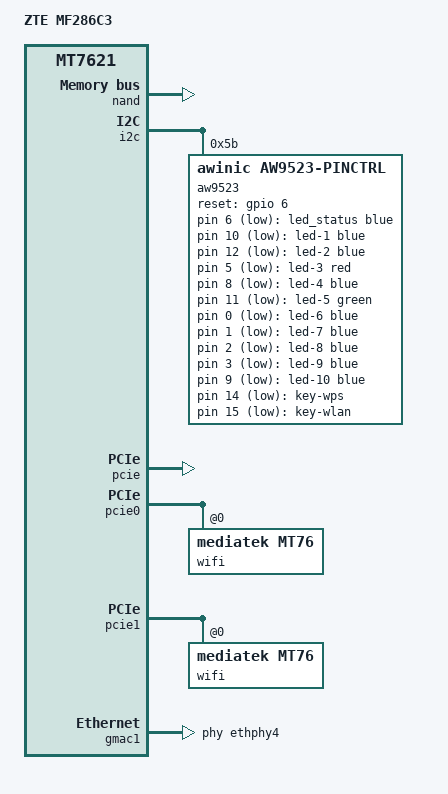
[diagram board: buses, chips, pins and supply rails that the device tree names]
// SPDX-License-Identifier: GPL-2.0-or-later

#include "mt7621.dtsi"

#include <dt-bindings/gpio/gpio.h>
#include <dt-bindings/input/input.h>
#include <dt-bindings/leds/common.h>

/ {
	compatible = "zte,mf286c3", "mediatek,mt7621-soc";
	model = "ZTE MF286C3";

	chosen {
		bootargs-override = "console=ttyS0,57600n8";
	};

	aliases {
		led-boot = &led_status;
		led-failsafe = &led_status;
		led-running = &led_status;
		led-upgrade = &led_status;
	};

	leds {
		compatible = "gpio-leds";
		pinctrl-names = "default";
		pinctrl-0 = <&led_pins>;

		led_status: led-0 { /* p0_6 - power_06 */
			color = <LED_COLOR_ID_BLUE>;
			function = LED_FUNCTION_STATUS;
			gpios = <&aw9523 6 GPIO_ACTIVE_LOW>;
			default-state = "off";
			linux,default-trigger = "none";
		};

		led-1 { /* p1_2 - wifi12 */
			color = <LED_COLOR_ID_BLUE>;
			function = LED_FUNCTION_WLAN;
			gpios = <&aw9523 10 GPIO_ACTIVE_LOW>;
			default-state = "off";
			linux,default-trigger = "none";
		};

		led-2 { /* p1_4 - phone14 */
			color = <LED_COLOR_ID_BLUE>;
			function = LED_FUNCTION_INDICATOR;
			function-enumerator = <1>;
			gpios = <&aw9523 12 GPIO_ACTIVE_LOW>;
			default-state = "off";
			linux,default-trigger = "none";
		};

		led-3 { /* p0_5 - rgb05-red */
			color = <LED_COLOR_ID_RED>;
			function = LED_FUNCTION_INDICATOR;
			function-enumerator = <2>;
			gpios = <&aw9523 5 GPIO_ACTIVE_LOW>;
			default-state = "off";
			linux,default-trigger = "none";
		};

		led-4 { /* p1_0 - rgb10-blue */
			color = <LED_COLOR_ID_BLUE>;
			function = LED_FUNCTION_INDICATOR;
			function-enumerator = <3>;
			gpios = <&aw9523 8 GPIO_ACTIVE_LOW>;
			default-state = "off";
			linux,default-trigger = "none";
		};

		led-5 { /* p1_3 - rgb13-green */
			color = <LED_COLOR_ID_GREEN>;
			function = LED_FUNCTION_INDICATOR;
			function-enumerator = <4>;
			gpios = <&aw9523 11 GPIO_ACTIVE_LOW>;
			default-state = "off";
			linux,default-trigger = "none";
		};

		led-6  { /* p0_0 sig00 */
			color = <LED_COLOR_ID_BLUE>;
			function = LED_FUNCTION_INDICATOR;
			function-enumerator = <5>;
			gpios = <&aw9523 0 GPIO_ACTIVE_LOW>;
			default-state = "off";
			linux,default-trigger = "none";
		};

		led-7 { /* p0_1 sig01 */
			color = <LED_COLOR_ID_BLUE>;
			function = LED_FUNCTION_INDICATOR;
			function-enumerator = <6>;
			gpios = <&aw9523 1 GPIO_ACTIVE_LOW>;
			default-state = "off";
			linux,default-trigger = "none";
		};

		led-8 { /* p0_2 sig02 */
			color = <LED_COLOR_ID_BLUE>;
			function = LED_FUNCTION_INDICATOR;
			function-enumerator = <7>;
			gpios = <&aw9523 2 GPIO_ACTIVE_LOW>;
			default-state = "off";
			linux,default-trigger = "none";
		};

		led-9 { /* p0_3 - sig03 */
			color = <LED_COLOR_ID_BLUE>;
			function = LED_FUNCTION_INDICATOR;
			function-enumerator = <8>;
			gpios = <&aw9523 3 GPIO_ACTIVE_LOW>;
			default-state = "off";
			linux,default-trigger = "none";
		};

		led-10 { /* p1_1 - sig11 */
			color = <LED_COLOR_ID_BLUE>;
			function = LED_FUNCTION_INDICATOR;
			function-enumerator = <9>;
			gpios = <&aw9523 9 GPIO_ACTIVE_LOW>;
			default-state = "off";
			linux,default-trigger = "none";
		};
	};

	keys {
		compatible = "gpio-keys-polled";
		poll-interval = <50>;
		pinctrl-names = "default";
		pinctrl-0 = <&button_pins>;

		key-wps {
			gpios = <&aw9523 14 GPIO_ACTIVE_LOW>;
			linux,code = <KEY_WPS_BUTTON>;
		};

		key-wlan {
			gpios = <&aw9523 15 GPIO_ACTIVE_LOW>;
			linux,code = <KEY_WLAN>;
		};
	};
};

&nand {
	status = "okay";

	partitions {
		compatible = "fixed-partitions";
		#address-cells = <1>;
		#size-cells = <1>;

		partition@0 {
			label = "Bootloader";
			reg = <0x0 0x80000>;
			read-only;
		};

		partition@80000 {
			label = "Config";
			reg = <0x80000 0x80000>;
			read-only;
		};

		partition@100000 {
			label = "Factory";
			reg = <0x100000 0x100000>;
			read-only;

			nvmem-layout {
				compatible = "fixed-layout";
				#address-cells = <1>;
				#size-cells = <1>;

				eeprom0: eeprom@0 {
					reg = <0x0 0x400>;
				};

				eeprom1: eeprom@8000 {
					reg = <0x8000 0x4da8>;
				};

				macaddr_factory_e000: macaddr@e000 {
					reg = <0xe000 0x6>;
				};

				macaddr_factory_e006: macaddr@e006 {
					reg = <0xe006 0x6>;
				};
			};
		};

		partition@200000 {
			label = "inventory";
			reg = <0x200000 0x100000>;
			read-only;
		};

		partition@300000 {
			label = "customer";
			reg = <0x300000 0x100000>;
			read-only;
		};

		partition@400000 {
			label = "zone";
			reg = <0x400000 0x100000>;
			read-only;
		};

		partition@500000 {
			label = "reserved0";
			reg = <0x500000 0x500000>;
			read-only;
		};

		partition@a00000 {
			label = "kernel";
			reg = <0xa00000 0x500000>;
		};

		partition@f00000 {
			label = "ubi";
			reg = <0xf00000 0x7100000>;
		};
	};
};

&i2c {
	status = "okay";

	aw9523: gpio-expander@5b {
		compatible = "awinic,aw9523-pinctrl";
		reg = <0x5b>;
		gpio-controller;
		#gpio-cells = <2>;
		gpio-ranges = <&aw9523 0 0 16>;

		reset-gpios = <&gpio 6 GPIO_ACTIVE_HIGH>;

		button_pins: button-pins {
			pins = "gpio4", "gpio7", "gpio13", "gpio14", "gpio15";
			function = "gpio";
			input-enable;
		};

		led_pins: led-pins {
			pins = "gpio0", "gpio1", "gpio2", "gpio3", "gpio5", "gpio6",
				"gpio8", "gpio9", "gpio10", "gpio11", "gpio12";
			function = "gpio";
			input-disable;
			output-low;
		};
	};
};

&pcie {
	status = "okay";
};

&pcie0 {
	wifi@0,0 {
		compatible = "mediatek,mt76";
		reg = <0x0 0 0 0 0>;
		ieee80211-freq-limit = <2400000 2500000>;
		nvmem-cells = <&eeprom0>;
		nvmem-cell-names = "eeprom";
	};
};

&pcie1 {
	wifi@0,0 {
		compatible = "mediatek,mt76";
		reg = <0x0 0 0 0 0>;
		ieee80211-freq-limit = <5000000 6000000>;
		nvmem-cells = <&eeprom1>;
		nvmem-cell-names = "eeprom";
	};
};

&gmac0 {
	nvmem-cells = <&macaddr_factory_e000>;
	nvmem-cell-names = "mac-address";
};

&gmac1 {
	nvmem-cells = <&macaddr_factory_e006>;
	nvmem-cell-names = "mac-address";
	status = "okay";
	label = "wan";
	phy-handle = <&ethphy4>;
};

&switch0 {
	ports {
		port@0 {
			status = "okay";
			label = "lan4";
		};

		port@1 {
			status = "okay";
			label = "lan3";
		};

		port@2 {
			status = "okay";
			label = "lan2";
		};

		port@3 {
			status = "okay";
			label = "lan1";
		};
	};
};

/& {
	/delete-property/ led-boot;
	/delete-property/ led-failsafe;
	/delete-property/ led-running;
	/delete-property/ led-upgrade;
};
